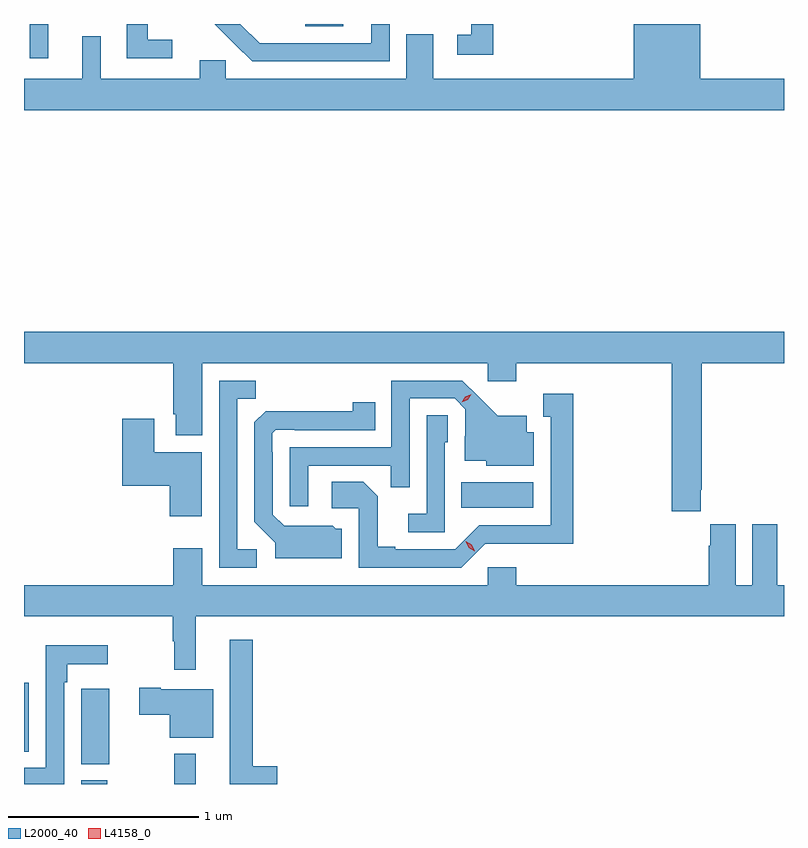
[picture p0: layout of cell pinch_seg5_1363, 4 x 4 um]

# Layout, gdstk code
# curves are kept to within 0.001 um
import gdstk
lib = gdstk.Library(unit=1e-6, precision=1e-09)
def R(c, l, rs):  # rectangles x0, y0, x1, y1
    for r in rs: c.add(gdstk.rectangle(r[:2], r[2:], *l))
def P(c, l, *ps):  # polygons
    for p in ps: c.add(gdstk.Polygon(p, *l))
L2000_40 = (2000, 40)
L4158_0 = (4158, 0)

pinch_seg5_1363 = lib.new_cell('pinch_seg5_1363')
R(pinch_seg5_1363, L2000_40, [(166.226,906.493,166.365,906.513), (166.717,906.493,166.831,906.652), (165.926,906.664,165.952,907.027), (168.226,907.946,168.607,908.08), (165.956,910.314,166.053,910.493), (167.406,910.482,167.605,910.493)])
P(pinch_seg5_1363, L2000_40, [(169.926,910.204),(169.486,910.204),(169.486,910.493),(169.136,910.493),(169.136,910.204),(168.079,910.204),(168.079,910.44),(167.939,910.44),(167.939,910.204),(166.989,910.204),(166.989,910.302),(166.85,910.302),(166.85,910.204),(166.33,910.204),(166.33,910.429),(166.232,910.429),(166.232,910.204),(165.926,910.204),(165.926,910.04),(169.926,910.04)],
  [(168.395,910.493),(168.279,910.493),(168.279,910.437),(168.207,910.437),(168.207,910.332),(168.395,910.332)],
  [(166.705,910.41),(166.576,910.41),(166.576,910.493),(166.467,910.493),(166.467,910.314),(166.705,910.314)],
  [(167.85,910.493),(167.753,910.493),(167.753,910.392),(167.166,910.393),(167.065,910.493),(166.929,910.493),(166.929,910.491),(167.126,910.296),(167.85,910.296)],
  [(169.487,908.041),(169.494,908.041),(169.494,908.708),(169.926,908.708),(169.926,908.872),(165.926,908.872),(165.926,908.708),(166.712,908.708),(166.712,908.44),(166.724,908.44),(166.724,908.328),(166.864,908.328),(166.864,908.708),(168.366,908.708),(168.366,908.613),(168.518,908.613),(168.518,908.708),(169.334,908.708),(169.334,907.929),(169.487,907.929)],
  [(167.421,908.169),(167.857,908.169),(167.857,908.056),(167.955,908.056),(167.955,908.523),(168.192,908.523),(168.249,908.466),(168.249,908.324),(168.245,908.324),(168.245,908.195),(168.36,908.195),(168.36,908.168),(168.61,908.168),(168.61,908.344),(168.571,908.344),(168.571,908.431),(168.419,908.431),(168.232,908.616),(167.859,908.616),(167.859,908.265),(167.325,908.265),(167.325,907.956),(167.421,907.956)],
  [(167.152,907.728),(167.049,907.728),(167.049,908.521),(167.145,908.521),(167.145,908.616),(166.953,908.616),(166.953,907.632),(167.152,907.632)],
  [(168.354,907.758),(168.817,907.757),(168.817,908.548),(168.659,908.548),(168.659,908.427),(168.698,908.427),(168.698,907.854),(168.321,907.854),(168.195,907.728),(167.881,907.728),(167.881,907.741),(167.787,907.741),(167.787,908.008),(167.711,908.084),(167.547,908.084),(167.547,907.944),(167.688,907.944),(167.688,907.632),(168.228,907.632)],
  [(167.599,907.836),(167.568,907.836),(167.552,907.852),(167.295,907.851),(167.235,907.911),(167.235,908.24),(167.232,908.24),(167.232,908.34),(167.25,908.358),(167.35,908.358),(167.35,908.355),(167.774,908.355),(167.774,908.503),(167.656,908.503),(167.656,908.456),(167.198,908.455),(167.139,908.396),(167.139,907.874),(167.249,907.764),(167.249,907.682),(167.599,907.682)],
  [(168.141,908.292),(168.156,908.292),(168.156,908.435),(168.045,908.435),(168.045,907.915),(167.949,907.915),(167.949,907.818),(168.141,907.818)],
  [(166.861,908.239),(166.612,908.239),(166.612,908.416),(166.442,908.416),(166.442,908.063),(166.694,908.063),(166.694,907.902),(166.861,907.902)],
  [(166.831,907.376),(169.926,907.376),(169.926,907.54),(169.891,907.54),(169.891,907.748),(169.89,907.748),(169.89,907.861),(169.76,907.861),(169.76,907.54),(169.672,907.54),(169.672,907.861),(169.538,907.861),(169.538,907.748),(169.529,907.748),(169.529,907.54),(168.518,907.54),(168.518,907.633),(168.366,907.633),(168.366,907.54),(166.864,907.54),(166.864,907.735),(166.712,907.735),(166.712,907.54),(165.926,907.54),(165.926,907.376),(166.71,907.376),(166.71,907.244),(166.717,907.244),(166.717,907.095),(166.831,907.095)],
  [(167.26,906.586),(167.131,906.586),(167.131,907.252),(167.009,907.252),(167.009,906.493),(167.26,906.493)],
  [(166.137,907.028),(166.153,907.028),(166.153,907.124),(166.366,907.124),(166.366,907.222),(166.041,907.222),(166.041,906.579),(165.926,906.579),(165.926,906.493),(166.137,906.493)],
  [(166.921,906.991),(166.645,906.991),(166.645,906.999),(166.533,906.999),(166.533,906.857),(166.694,906.857),(166.694,906.737),(166.921,906.737)],
  [(166.375,906.994),(166.227,906.994),(166.227,906.881),(166.226,906.881),(166.226,906.598),(166.375,906.598)])
P(pinch_seg5_1363, L4158_0, [(168.231,908.501),(168.231,908.501),(168.249,908.53),(168.28,908.545),(168.28,908.545),(168.28,908.545),(168.262,908.515),(168.231,908.501)],
  [(168.299,907.718),(168.267,907.737),(168.25,907.77),(168.25,907.77),(168.251,907.77),(168.282,907.751),(168.299,907.718),(168.299,907.718)])

lib.write_gds('pinch_seg5_1363.gds')
